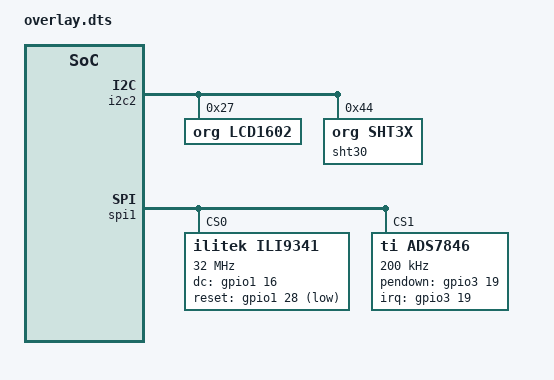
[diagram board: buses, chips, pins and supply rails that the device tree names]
/dts-v1/;
/plugin/;

/ {
    compatible = "ti,beaglebone", "ti,beaglebone-black";

    /* I2C2 devices */
    fragment@0 {
        target = <&i2c2>;
        __overlay__ {
            status = "okay";

            lcd1602: lcd1602@27 {
                compatible = "org,lcd1602";
                reg = <0x27>;
            };
            sht30: sht30@44 {
                compatible = "org,sht3x";
                reg = <0x44>;
            };
        };
    };

    /* Pinmux cho SPI1 + GPIO DC/RESET + Touch IRQ */
    fragment@1 {
        target = <&am33xx_pinmux>;
        __overlay__ {
            ili9341_pins: pinmux_ili9341_pins {
                pinctrl-single,pins = <
                    0x190 0x33   /* P9_31 spi1_sclk */
                    0x194 0x33   /* P9_29 spi1_d0 (MISO) */
                    0x198 0x33   /* P9_30 spi1_d1 (MOSI) */
                    0x19c 0x33   /* P9_28 spi1_cs0 */
                    0x164 0x33   /* P9_42 spi1_cs1 */
                    0x040 0x07   /* P9_15 gpio1_16 (DC) */
                    0x078 0x07   /* P9_12 gpio1_28 (RESET) */
                    0x1ac 0x37   /* P9_27 gpio3_19 (T_IRQ) input pullup */
                >;
            };
        };
    };

    /* SPI1 + ILI9341 device + ADS7846 touchscreen */
    fragment@2 {
        target = <&spi1>;
        __overlay__ {
            #address-cells = <1>;
            #size-cells = <0>;
            status = "okay";
            pinctrl-names = "default";
            pinctrl-0 = <&ili9341_pins>;

            ili9341: ili9341@0 {
                compatible = "ilitek,ili9341";
                reg = <0>;                     /* CS0 */
                spi-max-frequency = <32000000>;

                dc-gpios = <&gpio1 16 0>;     /* P9_15 */
                reset-gpios = <&gpio1 28 1>;  /* P9_12 */
                rotate = <90>;
                buswidth = <8>;
                bgr;
            };

            ads7846: touchscreen@1 {
                compatible = "ti,ads7846";
                reg = <1>;                   /* CS1 */
                spi-max-frequency = <200000>;

                interrupt-parent = <&gpio3>;
                interrupts = <19 0>;          /* gpio3_19 - P9_27 */
                linux,irq-type = <1>;         /* falling edge */
                pendown-gpio = <&gpio3 19 0>;

                ti,x-min = /bits/ 16 <200>;
                ti,x-max = /bits/ 16 <3900>;
                ti,y-min = /bits/ 16 <200>;
                ti,y-max = /bits/ 16 <3900>;
                ti,pressure-min = /bits/ 16 <0>;
                ti,pressure-max = /bits/ 16 <255>;
            };
        };
    };
};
